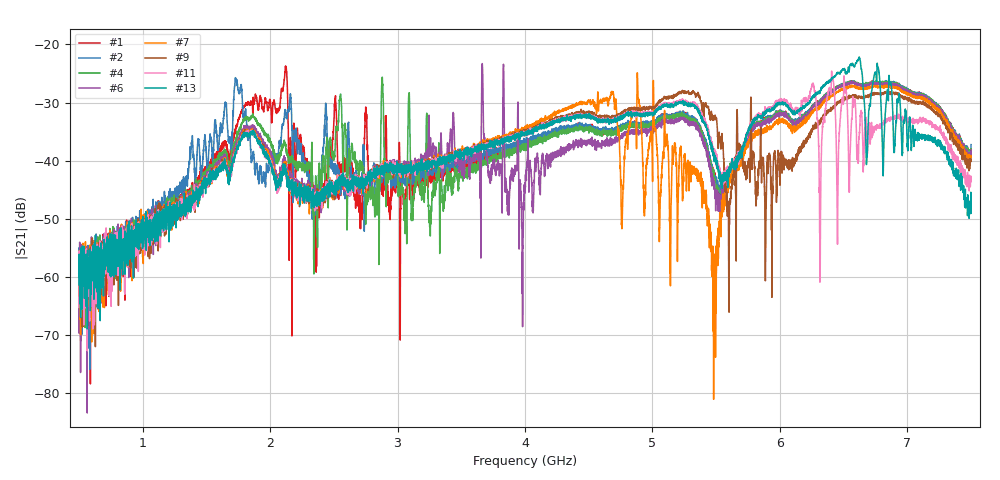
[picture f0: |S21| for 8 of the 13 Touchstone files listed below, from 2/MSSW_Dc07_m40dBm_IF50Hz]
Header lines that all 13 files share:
!Keysight Technologies,M9374A,MY55442783,A.12.55.05
!Correction: S11(Full 2 Port(1,2))
!S21(Full 2 Port(1,2))
!S12(Full 2 Port(1,2))
!S22(Full 2 Port(1,2))
!S2P File: Measurements: S11, S21, S12, S22:
# Hz S  RI  R 50
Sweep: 500 MHz to 7.5 GHz
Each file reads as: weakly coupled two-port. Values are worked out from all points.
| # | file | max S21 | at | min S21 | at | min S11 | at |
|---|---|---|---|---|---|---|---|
| 1 | MSSW_Dc07_i0.5.s2p | -23.73 dB | 2.121 GHz | -78.4 dB | 590 MHz | -30.7 dB | 2.767 GHz |
| 2 | MSSW_Dc07_i0.s2p | -25.72 dB | 1.728 GHz | -75.9 dB | 585 MHz | -29.5 dB | 2.455 GHz |
| 3 | MSSW_Dc07_i1.5.s2p | -22.60 dB | 3.264 GHz | -78.3 dB | 525 MHz | -19.9 dB | 3.474 GHz |
| 4 | MSSW_Dc07_i1.s2p | -25.62 dB | 2.88 GHz | -68.7 dB | 549 MHz | -37.8 dB | 3.11 GHz |
| 5 | MSSW_Dc07_i2.5.s2p | -23.63 dB | 4.071 GHz | -101.1 dB | 4.367 GHz | -29.9 dB | 4.354 GHz |
| 6 | MSSW_Dc07_i2.s2p | -23.30 dB | 3.664 GHz | -83.4 dB | 565 MHz | -23.9 dB | 3.974 GHz |
| 7 | MSSW_Dc07_i3.5.s2p | -24.88 dB | 4.881 GHz | -81.0 dB | 5.48 GHz | -30.9 dB | 5.124 GHz |
| 8 | MSSW_Dc07_i3.s2p | -23.99 dB | 4.476 GHz | -77.7 dB | 631 MHz | -47.4 dB | 4.737 GHz |
| 9 | MSSW_Dc07_i4.5.s2p | -27.93 dB | 5.236 GHz | -72.0 dB | 629 MHz | -28.4 dB | 5.88 GHz |
| 10 | MSSW_Dc07_i4.s2p | -25.71 dB | 5.091 GHz | -78.1 dB | 533 MHz | -31.7 dB | 5.505 GHz |
| 11 | MSSW_Dc07_i5.5.s2p | -24.59 dB | 6.406 GHz | -72.7 dB | 565 MHz | -26.7 dB | 6.314 GHz |
| 12 | MSSW_Dc07_i5.s2p | -26.75 dB | 6.039 GHz | -78.9 dB | 503 MHz | -35.3 dB | 6.245 GHz |
| 13 | MSSW_Dc07_i6.s2p | -22.21 dB | 6.623 GHz | -68.9 dB | 566 MHz | -30.1 dB | 6.677 GHz |
